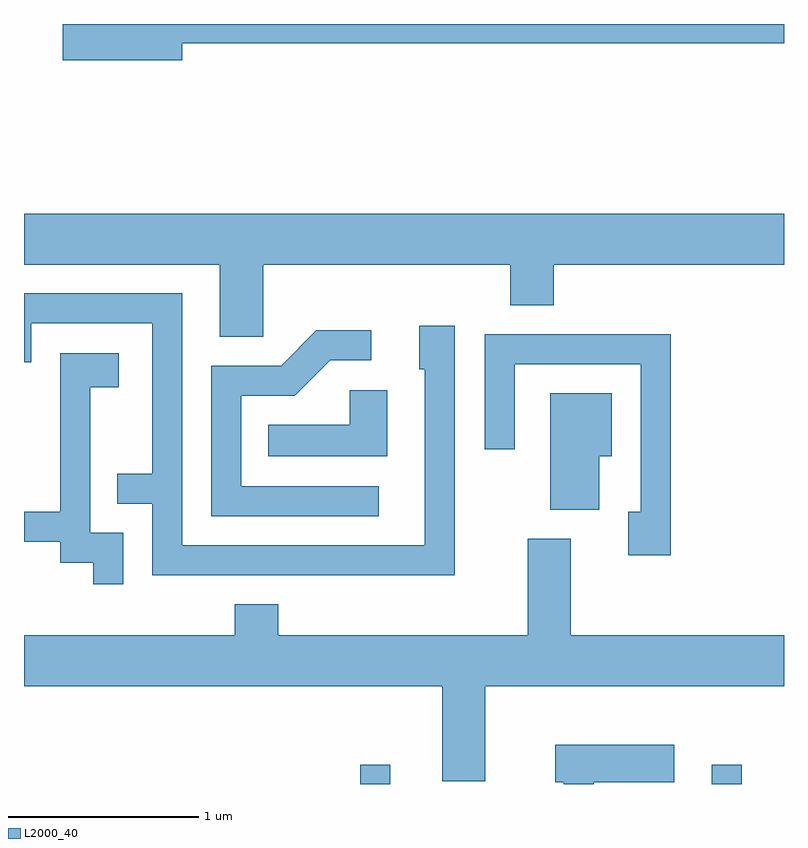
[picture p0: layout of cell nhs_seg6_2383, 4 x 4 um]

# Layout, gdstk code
import gdstk
lib = gdstk.Library(unit=1e-6, precision=1e-09)
def R(c, l, rs):  # rectangles x0, y0, x1, y1
    for r in rs: c.add(gdstk.rectangle(r[:2], r[2:], *l))
def P(c, l, *ps):  # polygons
    for p in ps: c.add(gdstk.Polygon(p, *l))
L2000_40 = (2000, 40)

nhs_seg6_2383 = lib.new_cell('nhs_seg6_2383')
R(nhs_seg6_2383, L2000_40, [(259.381,1576.162,259.539,1576.263), (261.231,1576.162,261.389,1576.263)])
P(nhs_seg6_2383, L2000_40, [(258.444,1580.061),(261.611,1580.061),(261.611,1580.162),(257.816,1580.162),(257.816,1579.971),(258.444,1579.971)],
  [(258.869,1578.896),(260.171,1578.896),(260.171,1578.681),(260.399,1578.681),(260.399,1578.896),(261.611,1578.896),(261.611,1579.164),(257.611,1579.164),(257.611,1578.896),(258.641,1578.896),(258.641,1578.516),(258.869,1578.516)],
  [(259.879,1578.574),(259.691,1578.574),(259.691,1578.346),(259.721,1578.346),(259.721,1577.419),(258.444,1577.419),(258.444,1578.744),(257.611,1578.744),(257.611,1578.381),(257.649,1578.381),(257.649,1578.586),(258.286,1578.586),(258.286,1577.794),(258.103,1577.794),(258.103,1577.636),(258.286,1577.636),(258.286,1577.261),(259.879,1577.261)],
  [(259.478,1577.729),(258.754,1577.729),(258.754,1578.206),(259.037,1578.206),(259.222,1578.391),(259.438,1578.391),(259.438,1578.549),(259.149,1578.549),(258.964,1578.364),(258.596,1578.364),(258.596,1577.571),(259.478,1577.571)],
  [(261.014,1578.529),(260.036,1578.529),(260.036,1577.923),(260.194,1577.923),(260.194,1578.371),(260.856,1578.371),(260.856,1577.594),(260.791,1577.594),(260.791,1577.366),(261.014,1577.366)],
  [(258.134,1577.484),(257.959,1577.484),(257.959,1578.251),(258.109,1578.251),(258.109,1578.429),(257.801,1578.429),(257.801,1577.594),(257.611,1577.594),(257.611,1577.436),(257.801,1577.436),(257.801,1577.326),(257.976,1577.326),(257.976,1577.213),(258.134,1577.213)],
  [(259.524,1578.234),(259.326,1578.234),(259.326,1578.054),(258.897,1578.054),(258.897,1577.886),(259.524,1577.886)],
  [(260.639,1577.886),(260.704,1577.886),(260.704,1578.219),(260.381,1578.219),(260.381,1577.606),(260.639,1577.606)],
  [(260.039,1576.676),(261.611,1576.676),(261.611,1576.944),(260.489,1576.944),(260.489,1577.454),(260.261,1577.454),(260.261,1576.944),(258.949,1576.944),(258.949,1577.109),(258.721,1577.109),(258.721,1576.944),(257.611,1576.944),(257.611,1576.676),(259.811,1576.676),(259.811,1576.176),(260.039,1576.176)],
  [(260.609,1576.171),(261.034,1576.171),(261.034,1576.369),(260.406,1576.369),(260.406,1576.171),(260.451,1576.171),(260.451,1576.162),(260.609,1576.162)])

lib.write_gds('nhs_seg6_2383.gds')
